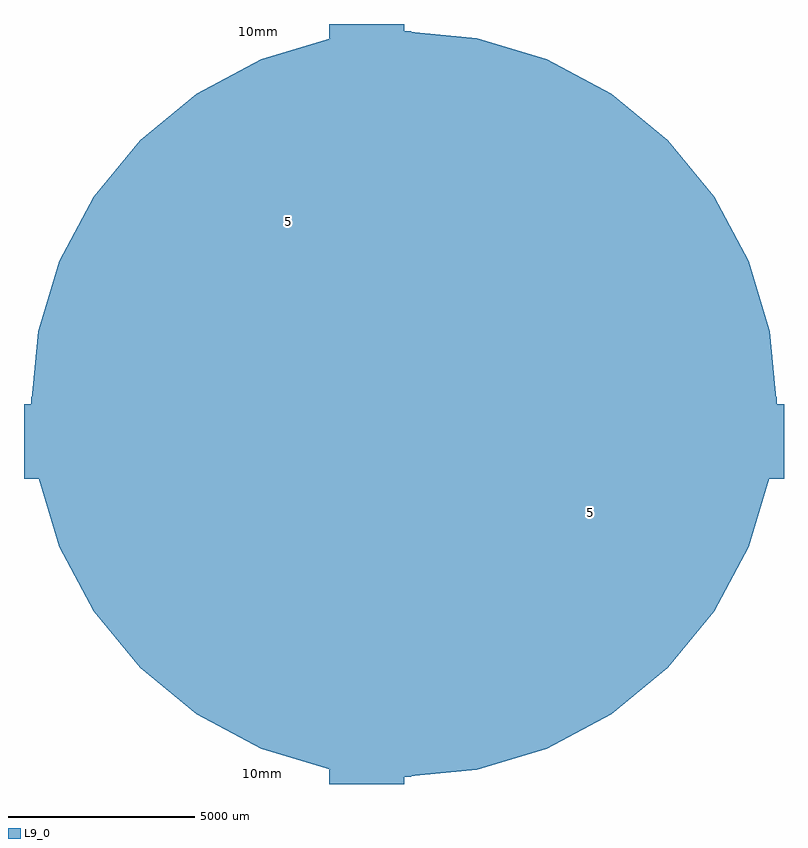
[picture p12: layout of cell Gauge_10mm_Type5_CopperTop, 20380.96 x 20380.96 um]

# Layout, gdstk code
import gdstk
lib = gdstk.Library(unit=1e-6, precision=1e-09)
def P(c, l, *ps):  # polygons
    for p in ps: c.add(gdstk.Polygon(p, *l))
L9_0 = (9, 0)

gauge_10mm_type5_coppert = lib.new_cell('Gauge_10mm_Type5_CopperTop')
P(gauge_10mm_type5_coppert, L9_0, [(9999.98,0),(9807.833,1950.899),(9238.777,3826.827),(8314.679,5555.691),(7071.054,7071.054),(5555.691,8314.679),(3826.827,9238.777),(1950.899,9807.833),(0,9999.98),(-1950.899,9807.833),(-3826.827,9238.777),(-5555.691,8314.679),(-7071.054,7071.054),(-8314.679,5555.691),(-9238.777,3826.827),(-9807.833,1950.899),(-9999.98,0),(-9807.833,-1950.899),(-9238.777,-3826.827),(-8314.679,-5555.691),(-7071.054,-7071.054),(-5555.691,-8314.679),(-3826.827,-9238.777),(-1950.899,-9807.833),(0,-9999.98),(1950.899,-9807.833),(3826.827,-9238.777),(5555.691,-8314.679),(7071.054,-7071.054),(8314.679,-5555.691),(9238.777,-3826.827),(9807.833,-1950.899)],
  [(5001.26,0),(4905.162,975.697),(4620.562,1913.899),(4158.396,2778.551),(3536.425,3536.425),(2778.551,4158.396),(1913.899,4620.562),(975.697,4905.162),(0,5001.26),(-975.697,4905.162),(-1913.899,4620.562),(-2778.551,4158.396),(-3536.425,3536.425),(-4158.396,2778.551),(-4620.562,1913.899),(-4905.162,975.697),(-5001.26,0),(-4905.162,-975.697),(-4620.562,-1913.899),(-4158.396,-2778.551),(-3536.425,-3536.425),(-2778.551,-4158.396),(-1913.899,-4620.562),(-975.697,-4905.162),(0,-5001.26),(975.697,-4905.162),(1913.899,-4620.562),(2778.551,-4158.396),(3536.425,-3536.425),(4158.396,-2778.551),(4620.562,-1913.899),(4905.162,-975.697)])
gauge_10mm_type5_coppert.add(gdstk.FlexPath([(9999.98,0),(9999.98,-1998.98)], 380.998, ends="flush", simple_path=True, layer=9, datatype=0))  # L9_0
gauge_10mm_type5_coppert.add(gdstk.FlexPath([(0,0),(9999.98,0)], 380.998, ends="flush", simple_path=True, layer=9, datatype=0))  # L9_0
gauge_10mm_type5_coppert.add(gdstk.FlexPath([(0,0),(0,-1998.98)], 380.998, ends="flush", simple_path=True, layer=9, datatype=0))  # L9_0
gauge_10mm_type5_coppert.add(gdstk.FlexPath([(5001.26,0),(5001.26,-1998.98)], 380.998, ends="flush", simple_path=True, layer=9, datatype=0))  # L9_0
gauge_10mm_type5_coppert.add(gdstk.FlexPath([(1000.76,0),(1000.76,-1000.76)], 380.998, ends="flush", simple_path=True, layer=9, datatype=0))  # L9_0
gauge_10mm_type5_coppert.add(gdstk.FlexPath([(1998.98,0),(1998.98,-1000.76)], 380.998, ends="flush", simple_path=True, layer=9, datatype=0))  # L9_0
gauge_10mm_type5_coppert.add(gdstk.FlexPath([(2999.74,0),(2999.74,-1000.76)], 380.998, ends="flush", simple_path=True, layer=9, datatype=0))  # L9_0
gauge_10mm_type5_coppert.add(gdstk.FlexPath([(4000.5,0),(4000.5,-1000.76)], 380.998, ends="flush", simple_path=True, layer=9, datatype=0))  # L9_0
gauge_10mm_type5_coppert.add(gdstk.FlexPath([(5999.48,0),(5999.48,-1000.76)], 380.998, ends="flush", simple_path=True, layer=9, datatype=0))  # L9_0
gauge_10mm_type5_coppert.add(gdstk.FlexPath([(7000.24,0),(7000.24,-1000.76)], 380.998, ends="flush", simple_path=True, layer=9, datatype=0))  # L9_0
gauge_10mm_type5_coppert.add(gdstk.FlexPath([(8001,0),(8001,-1000.76)], 380.998, ends="flush", simple_path=True, layer=9, datatype=0))  # L9_0
gauge_10mm_type5_coppert.add(gdstk.FlexPath([(8999.22,0),(8999.22,-1000.76)], 380.998, ends="flush", simple_path=True, layer=9, datatype=0))  # L9_0
gauge_10mm_type5_coppert.add(gdstk.FlexPath([(0,0),(0,9999.98)], 380.998, ends="flush", simple_path=True, layer=9, datatype=0))  # L9_0
gauge_10mm_type5_coppert.add(gdstk.FlexPath([(0,9999.98),(-1998.98,9999.98)], 380.998, ends="flush", simple_path=True, layer=9, datatype=0))  # L9_0
gauge_10mm_type5_coppert.add(gdstk.FlexPath([(0,5001.26),(-1998.98,5001.26)], 380.998, ends="flush", simple_path=True, layer=9, datatype=0))  # L9_0
gauge_10mm_type5_coppert.add(gdstk.FlexPath([(0,1000.76),(-1000.76,1000.76)], 380.998, ends="flush", simple_path=True, layer=9, datatype=0))  # L9_0
gauge_10mm_type5_coppert.add(gdstk.FlexPath([(0,1998.98),(-1000.76,1998.98)], 380.998, ends="flush", simple_path=True, layer=9, datatype=0))  # L9_0
gauge_10mm_type5_coppert.add(gdstk.FlexPath([(0,2999.74),(-1000.76,2999.74)], 380.998, ends="flush", simple_path=True, layer=9, datatype=0))  # L9_0
gauge_10mm_type5_coppert.add(gdstk.FlexPath([(0,4000.5),(-1000.76,4000.5)], 380.998, ends="flush", simple_path=True, layer=9, datatype=0))  # L9_0
gauge_10mm_type5_coppert.add(gdstk.FlexPath([(0,5999.48),(-1000.76,5999.48)], 380.998, ends="flush", simple_path=True, layer=9, datatype=0))  # L9_0
gauge_10mm_type5_coppert.add(gdstk.FlexPath([(0,7000.24),(-1000.76,7000.24)], 380.998, ends="flush", simple_path=True, layer=9, datatype=0))  # L9_0
gauge_10mm_type5_coppert.add(gdstk.FlexPath([(0,8001),(-1000.76,8001)], 380.998, ends="flush", simple_path=True, layer=9, datatype=0))  # L9_0
gauge_10mm_type5_coppert.add(gdstk.FlexPath([(0,8999.22),(-1000.76,8999.22)], 380.998, ends="flush", simple_path=True, layer=9, datatype=0))  # L9_0
gauge_10mm_type5_coppert.add(gdstk.FlexPath([(0,0),(-9999.98,0)], 380.998, ends="flush", simple_path=True, layer=9, datatype=0))  # L9_0
gauge_10mm_type5_coppert.add(gdstk.FlexPath([(-9999.98,0),(-9999.98,-1998.98)], 380.998, ends="flush", simple_path=True, layer=9, datatype=0))  # L9_0
gauge_10mm_type5_coppert.add(gdstk.FlexPath([(-5001.26,0),(-5001.26,-1998.98)], 380.998, ends="flush", simple_path=True, layer=9, datatype=0))  # L9_0
gauge_10mm_type5_coppert.add(gdstk.FlexPath([(-1998.98,0),(-1998.98,-1000.76)], 380.998, ends="flush", simple_path=True, layer=9, datatype=0))  # L9_0
gauge_10mm_type5_coppert.add(gdstk.FlexPath([(-2999.74,0),(-2999.74,-1000.76)], 380.998, ends="flush", simple_path=True, layer=9, datatype=0))  # L9_0
gauge_10mm_type5_coppert.add(gdstk.FlexPath([(-4000.5,0),(-4000.5,-1000.76)], 380.998, ends="flush", simple_path=True, layer=9, datatype=0))  # L9_0
gauge_10mm_type5_coppert.add(gdstk.FlexPath([(-5999.48,0),(-5999.48,-1000.76)], 380.998, ends="flush", simple_path=True, layer=9, datatype=0))  # L9_0
gauge_10mm_type5_coppert.add(gdstk.FlexPath([(-7000.24,0),(-7000.24,-1000.76)], 380.998, ends="flush", simple_path=True, layer=9, datatype=0))  # L9_0
gauge_10mm_type5_coppert.add(gdstk.FlexPath([(-8001,0),(-8001,-1000.76)], 380.998, ends="flush", simple_path=True, layer=9, datatype=0))  # L9_0
gauge_10mm_type5_coppert.add(gdstk.FlexPath([(-8999.22,0),(-8999.22,-1000.76)], 380.998, ends="flush", simple_path=True, layer=9, datatype=0))  # L9_0
gauge_10mm_type5_coppert.add(gdstk.FlexPath([(0,-9999.98),(-1998.98,-9999.98)], 380.998, ends="flush", simple_path=True, layer=9, datatype=0))  # L9_0
gauge_10mm_type5_coppert.add(gdstk.FlexPath([(0,-1998.98),(0,-9999.98)], 380.998, ends="flush", simple_path=True, layer=9, datatype=0))  # L9_0
gauge_10mm_type5_coppert.add(gdstk.FlexPath([(0,-5001.26),(-1998.98,-5001.26)], 380.998, ends="flush", simple_path=True, layer=9, datatype=0))  # L9_0
gauge_10mm_type5_coppert.add(gdstk.FlexPath([(0,-1000.76),(-500.38,-1000.76)], 380.998, ends="flush", simple_path=True, layer=9, datatype=0))  # L9_0
gauge_10mm_type5_coppert.add(gdstk.FlexPath([(-1000.76,0),(-1000.76,-500.38)], 380.998, ends="flush", simple_path=True, layer=9, datatype=0))  # L9_0
gauge_10mm_type5_coppert.add(gdstk.FlexPath([(0,-1998.98),(-1000.76,-1998.98)], 380.998, ends="flush", simple_path=True, layer=9, datatype=0))  # L9_0
gauge_10mm_type5_coppert.add(gdstk.FlexPath([(0,-2999.74),(-1000.76,-2999.74)], 380.998, ends="flush", simple_path=True, layer=9, datatype=0))  # L9_0
gauge_10mm_type5_coppert.add(gdstk.FlexPath([(0,-4000.5),(-1000.76,-4000.5)], 380.998, ends="flush", simple_path=True, layer=9, datatype=0))  # L9_0
gauge_10mm_type5_coppert.add(gdstk.FlexPath([(0,-5999.48),(-1000.76,-5999.48)], 380.998, ends="flush", simple_path=True, layer=9, datatype=0))  # L9_0
gauge_10mm_type5_coppert.add(gdstk.FlexPath([(0,-7000.24),(-1000.76,-7000.24)], 380.998, ends="flush", simple_path=True, layer=9, datatype=0))  # L9_0
gauge_10mm_type5_coppert.add(gdstk.FlexPath([(0,-8001),(-1000.76,-8001)], 380.998, ends="flush", simple_path=True, layer=9, datatype=0))  # L9_0
gauge_10mm_type5_coppert.add(gdstk.FlexPath([(0,-8999.22),(-1000.76,-8999.22)], 380.998, ends="flush", simple_path=True, layer=9, datatype=0))  # L9_0
gauge_10mm_type5_coppert.add(gdstk.Label('10mm', (11899.9,-99.06), layer=9, texttype=0))
gauge_10mm_type5_coppert.add(gdstk.Label('5', (4998.72,-2900.68), layer=9, texttype=0))
gauge_10mm_type5_coppert.add(gdstk.Label('5', (-3101.34,4899.66), layer=9, texttype=0))
gauge_10mm_type5_coppert.add(gdstk.Label('10mm', (-3901.44,9999.98), layer=9, texttype=0))
gauge_10mm_type5_coppert.add(gdstk.Label('10mm', (-3799.84,-9900.92), layer=9, texttype=0))
gauge_10mm_type5_coppert.add(gdstk.Label('10mm', (-11600.18,-99.06), layer=9, texttype=0))
gauge_10mm_type5_coppert.add(gdstk.Label('type', (1198.88,-13700.76), layer=9, texttype=0))
gauge_10mm_type5_coppert.add(gdstk.Label('devicename', (-800.1,14000.48), layer=9, texttype=0))

lib.write_gds('Gauge_10mm_Type5_CopperTop.gds')
